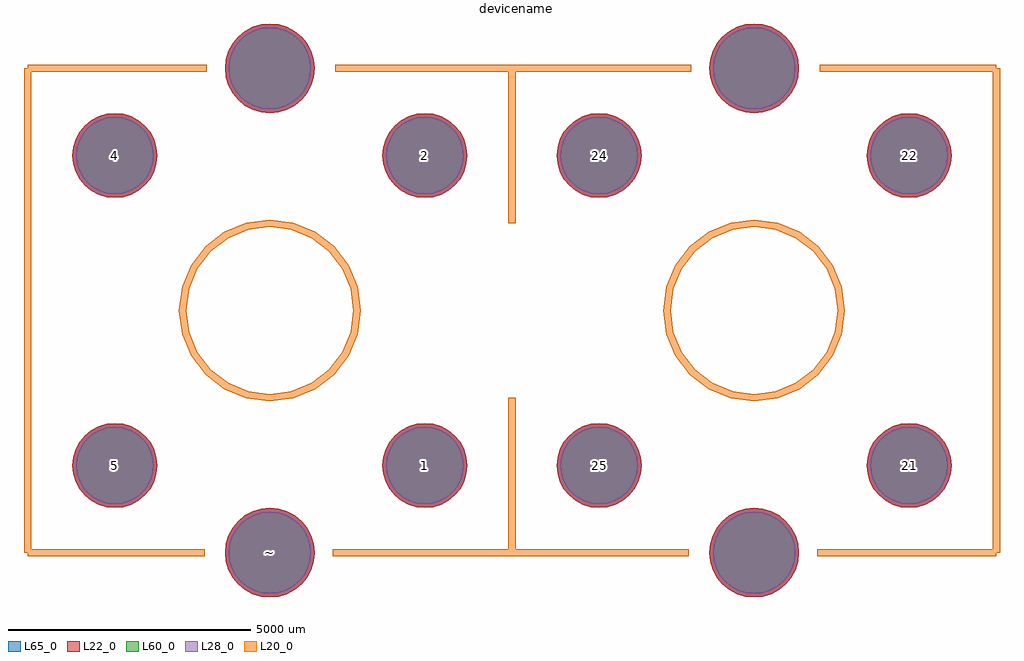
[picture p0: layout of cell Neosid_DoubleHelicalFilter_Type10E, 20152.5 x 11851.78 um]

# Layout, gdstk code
import gdstk
lib = gdstk.Library(unit=1e-6, precision=1e-09)
def P(c, l, *ps):  # polygons
    for p in ps: c.add(gdstk.Polygon(p, *l))
L20_0 = (20, 0)
L22_0 = (22, 0)
L28_0 = (28, 0)
L60_0 = (60, 0)
L65_0 = (65, 0)

neosid_doublehelicalfilt = lib.new_cell('Neosid_DoubleHelicalFilter_Type10E')
P(neosid_doublehelicalfilt, L22_0, [(5923.35,-5001.26),(5905.583,-4820.874),(5852.967,-4647.419),(5767.522,-4487.563),(5652.532,-4347.448),(5512.417,-4232.458),(5352.561,-4147.013),(5179.106,-4094.397),(4998.72,-4076.63),(4818.334,-4094.397),(4644.879,-4147.013),(4485.023,-4232.458),(4344.908,-4347.448),(4229.918,-4487.563),(4144.473,-4647.419),(4091.857,-4820.874),(4074.09,-5001.26),(4091.857,-5181.646),(4144.473,-5355.101),(4229.918,-5514.957),(4344.908,-5655.072),(4485.023,-5770.062),(4644.879,-5855.507),(4818.334,-5908.123),(4998.72,-5925.89),(5179.106,-5908.123),(5352.561,-5855.507),(5512.417,-5770.062),(5652.532,-5655.072),(5767.522,-5514.957),(5852.967,-5355.101),(5905.583,-5181.646)],
  [(5923.35,5001.26),(5905.583,5181.646),(5852.967,5355.101),(5767.522,5514.957),(5652.532,5655.072),(5512.417,5770.062),(5352.561,5855.507),(5179.106,5908.123),(4998.72,5925.89),(4818.334,5908.123),(4644.879,5855.507),(4485.023,5770.062),(4344.908,5655.072),(4229.918,5514.957),(4144.473,5355.101),(4091.857,5181.646),(4074.09,5001.26),(4091.857,4820.874),(4144.473,4647.419),(4229.918,4487.563),(4344.908,4347.448),(4485.023,4232.458),(4644.879,4147.013),(4818.334,4094.397),(4998.72,4076.63),(5179.106,4094.397),(5352.561,4147.013),(5512.417,4232.458),(5652.532,4347.448),(5767.522,4487.563),(5852.967,4647.419),(5905.583,4820.874)],
  [(-4076.63,5001.26),(-4094.397,5181.646),(-4147.013,5355.101),(-4232.458,5514.957),(-4347.448,5655.072),(-4487.563,5770.062),(-4647.419,5855.507),(-4820.874,5908.123),(-5001.26,5925.89),(-5181.646,5908.123),(-5355.101,5855.507),(-5514.957,5770.062),(-5655.072,5655.072),(-5770.062,5514.957),(-5855.507,5355.101),(-5908.123,5181.646),(-5925.89,5001.26),(-5908.123,4820.874),(-5855.507,4647.419),(-5770.062,4487.563),(-5655.072,4347.448),(-5514.957,4232.458),(-5355.101,4147.013),(-5181.646,4094.397),(-5001.26,4076.63),(-4820.874,4094.397),(-4647.419,4147.013),(-4487.563,4232.458),(-4347.448,4347.448),(-4232.458,4487.563),(-4147.013,4647.419),(-4094.397,4820.874)],
  [(-925.76,-3200.4),(-942.575,-3029.676),(-992.373,-2865.514),(-1073.241,-2714.22),(-1182.071,-2581.611),(-1314.68,-2472.781),(-1465.974,-2391.913),(-1630.136,-2342.115),(-1800.86,-2325.3),(-1971.584,-2342.115),(-2135.746,-2391.913),(-2287.04,-2472.781),(-2419.649,-2581.611),(-2528.479,-2714.22),(-2609.347,-2865.514),(-2659.145,-3029.676),(-2675.96,-3200.4),(-2659.145,-3371.124),(-2609.347,-3535.286),(-2528.479,-3686.58),(-2419.649,-3819.189),(-2287.04,-3928.019),(-2135.746,-4008.887),(-1971.584,-4058.685),(-1800.86,-4075.5),(-1630.136,-4058.685),(-1465.974,-4008.887),(-1314.68,-3928.019),(-1182.071,-3819.189),(-1073.241,-3686.58),(-992.373,-3535.286),(-942.575,-3371.124)],
  [(-7326.56,-3200.4),(-7343.375,-3029.676),(-7393.173,-2865.514),(-7474.041,-2714.22),(-7582.871,-2581.611),(-7715.48,-2472.781),(-7866.774,-2391.913),(-8030.936,-2342.115),(-8201.66,-2325.3),(-8372.384,-2342.115),(-8536.546,-2391.913),(-8687.84,-2472.781),(-8820.449,-2581.611),(-8929.279,-2714.22),(-9010.147,-2865.514),(-9059.945,-3029.676),(-9076.76,-3200.4),(-9059.945,-3371.124),(-9010.147,-3535.286),(-8929.279,-3686.58),(-8820.449,-3819.189),(-8687.84,-3928.019),(-8536.546,-4008.887),(-8372.384,-4058.685),(-8201.66,-4075.5),(-8030.936,-4058.685),(-7866.774,-4008.887),(-7715.48,-3928.019),(-7582.871,-3819.189),(-7474.041,-3686.58),(-7393.173,-3535.286),(-7343.375,-3371.124)],
  [(-7326.56,3200.4),(-7343.375,3371.124),(-7393.173,3535.286),(-7474.041,3686.58),(-7582.871,3819.189),(-7715.48,3928.019),(-7866.774,4008.887),(-8030.936,4058.685),(-8201.66,4075.5),(-8372.384,4058.685),(-8536.546,4008.887),(-8687.84,3928.019),(-8820.449,3819.189),(-8929.279,3686.58),(-9010.147,3535.286),(-9059.945,3371.124),(-9076.76,3200.4),(-9059.945,3029.676),(-9010.147,2865.514),(-8929.279,2714.22),(-8820.449,2581.611),(-8687.84,2472.781),(-8536.546,2391.913),(-8372.384,2342.115),(-8201.66,2325.3),(-8030.936,2342.115),(-7866.774,2391.913),(-7715.48,2472.781),(-7582.871,2581.611),(-7474.041,2714.22),(-7393.173,2865.514),(-7343.375,3029.676)],
  [(-925.76,3200.4),(-942.575,3371.124),(-992.373,3535.286),(-1073.241,3686.58),(-1182.071,3819.189),(-1314.68,3928.019),(-1465.974,4008.887),(-1630.136,4058.685),(-1800.86,4075.5),(-1971.584,4058.685),(-2135.746,4008.887),(-2287.04,3928.019),(-2419.649,3819.189),(-2528.479,3686.58),(-2609.347,3535.286),(-2659.145,3371.124),(-2675.96,3200.4),(-2659.145,3029.676),(-2609.347,2865.514),(-2528.479,2714.22),(-2419.649,2581.611),(-2287.04,2472.781),(-2135.746,2391.913),(-1971.584,2342.115),(-1800.86,2325.3),(-1630.136,2342.115),(-1465.974,2391.913),(-1314.68,2472.781),(-1182.071,2581.611),(-1073.241,2714.22),(-992.373,2865.514),(-942.575,3029.676)],
  [(9074.22,3200.4),(9057.405,3371.124),(9007.607,3535.286),(8926.739,3686.58),(8817.909,3819.189),(8685.3,3928.019),(8534.006,4008.887),(8369.844,4058.685),(8199.12,4075.5),(8028.396,4058.685),(7864.234,4008.887),(7712.94,3928.019),(7580.331,3819.189),(7471.501,3686.58),(7390.633,3535.286),(7340.835,3371.124),(7324.02,3200.4),(7340.835,3029.676),(7390.633,2865.514),(7471.501,2714.22),(7580.331,2581.611),(7712.94,2472.781),(7864.234,2391.913),(8028.396,2342.115),(8199.12,2325.3),(8369.844,2342.115),(8534.006,2391.913),(8685.3,2472.781),(8817.909,2581.611),(8926.739,2714.22),(9007.607,2865.514),(9057.405,3029.676)],
  [(2673.42,3200.4),(2656.605,3371.124),(2606.807,3535.286),(2525.939,3686.58),(2417.109,3819.189),(2284.5,3928.019),(2133.206,4008.887),(1969.044,4058.685),(1798.32,4075.5),(1627.596,4058.685),(1463.434,4008.887),(1312.14,3928.019),(1179.531,3819.189),(1070.701,3686.58),(989.833,3535.286),(940.035,3371.124),(923.22,3200.4),(940.035,3029.676),(989.833,2865.514),(1070.701,2714.22),(1179.531,2581.611),(1312.14,2472.781),(1463.434,2391.913),(1627.596,2342.115),(1798.32,2325.3),(1969.044,2342.115),(2133.206,2391.913),(2284.5,2472.781),(2417.109,2581.611),(2525.939,2714.22),(2606.807,2865.514),(2656.605,3029.676)],
  [(2673.42,-3200.4),(2656.605,-3029.676),(2606.807,-2865.514),(2525.939,-2714.22),(2417.109,-2581.611),(2284.5,-2472.781),(2133.206,-2391.913),(1969.044,-2342.115),(1798.32,-2325.3),(1627.596,-2342.115),(1463.434,-2391.913),(1312.14,-2472.781),(1179.531,-2581.611),(1070.701,-2714.22),(989.833,-2865.514),(940.035,-3029.676),(923.22,-3200.4),(940.035,-3371.124),(989.833,-3535.286),(1070.701,-3686.58),(1179.531,-3819.189),(1312.14,-3928.019),(1463.434,-4008.887),(1627.596,-4058.685),(1798.32,-4075.5),(1969.044,-4058.685),(2133.206,-4008.887),(2284.5,-3928.019),(2417.109,-3819.189),(2525.939,-3686.58),(2606.807,-3535.286),(2656.605,-3371.124)],
  [(9074.22,-3200.4),(9057.405,-3029.676),(9007.607,-2865.514),(8926.739,-2714.22),(8817.909,-2581.611),(8685.3,-2472.781),(8534.006,-2391.913),(8369.844,-2342.115),(8199.12,-2325.3),(8028.396,-2342.115),(7864.234,-2391.913),(7712.94,-2472.781),(7580.331,-2581.611),(7471.501,-2714.22),(7390.633,-2865.514),(7340.835,-3029.676),(7324.02,-3200.4),(7340.835,-3371.124),(7390.633,-3535.286),(7471.501,-3686.58),(7580.331,-3819.189),(7712.94,-3928.019),(7864.234,-4008.887),(8028.396,-4058.685),(8199.12,-4075.5),(8369.844,-4058.685),(8534.006,-4008.887),(8685.3,-3928.019),(8817.909,-3819.189),(8926.739,-3686.58),(9007.607,-3535.286),(9057.405,-3371.124)],
  [(-4076.63,-5001.26),(-4094.397,-4820.874),(-4147.013,-4647.419),(-4232.458,-4487.563),(-4347.448,-4347.448),(-4487.563,-4232.458),(-4647.419,-4147.013),(-4820.874,-4094.397),(-5001.26,-4076.63),(-5181.646,-4094.397),(-5355.101,-4147.013),(-5514.957,-4232.458),(-5655.072,-4347.448),(-5770.062,-4487.563),(-5855.507,-4647.419),(-5908.123,-4820.874),(-5925.89,-5001.26),(-5908.123,-5181.646),(-5855.507,-5355.101),(-5770.062,-5514.957),(-5655.072,-5655.072),(-5514.957,-5770.062),(-5355.101,-5855.507),(-5181.646,-5908.123),(-5001.26,-5925.89),(-4820.874,-5908.123),(-4647.419,-5855.507),(-4487.563,-5770.062),(-4347.448,-5655.072),(-4232.458,-5514.957),(-4147.013,-5355.101),(-4094.397,-5181.646)])
P(neosid_doublehelicalfilt, L28_0, [(5848.35,-5001.26),(5832.025,-4835.505),(5783.676,-4676.121),(5705.162,-4529.231),(5599.499,-4400.481),(5470.749,-4294.818),(5323.859,-4216.304),(5164.475,-4167.955),(4998.72,-4151.63),(4832.965,-4167.955),(4673.581,-4216.304),(4526.691,-4294.818),(4397.941,-4400.481),(4292.278,-4529.231),(4213.764,-4676.121),(4165.415,-4835.505),(4149.09,-5001.26),(4165.415,-5167.015),(4213.764,-5326.399),(4292.278,-5473.289),(4397.941,-5602.039),(4526.691,-5707.702),(4673.581,-5786.216),(4832.965,-5834.565),(4998.72,-5850.89),(5164.475,-5834.565),(5323.859,-5786.216),(5470.749,-5707.702),(5599.499,-5602.039),(5705.162,-5473.289),(5783.676,-5326.399),(5832.025,-5167.015)],
  [(5848.35,5001.26),(5832.025,5167.015),(5783.676,5326.399),(5705.162,5473.289),(5599.499,5602.039),(5470.749,5707.702),(5323.859,5786.216),(5164.475,5834.565),(4998.72,5850.89),(4832.965,5834.565),(4673.581,5786.216),(4526.691,5707.702),(4397.941,5602.039),(4292.278,5473.289),(4213.764,5326.399),(4165.415,5167.015),(4149.09,5001.26),(4165.415,4835.505),(4213.764,4676.121),(4292.278,4529.231),(4397.941,4400.481),(4526.691,4294.818),(4673.581,4216.304),(4832.965,4167.955),(4998.72,4151.63),(5164.475,4167.955),(5323.859,4216.304),(5470.749,4294.818),(5599.499,4400.481),(5705.162,4529.231),(5783.676,4676.121),(5832.025,4835.505)],
  [(-4151.63,5001.26),(-4167.955,5167.015),(-4216.304,5326.399),(-4294.818,5473.289),(-4400.481,5602.039),(-4529.231,5707.702),(-4676.121,5786.216),(-4835.505,5834.565),(-5001.26,5850.89),(-5167.015,5834.565),(-5326.399,5786.216),(-5473.289,5707.702),(-5602.039,5602.039),(-5707.702,5473.289),(-5786.216,5326.399),(-5834.565,5167.015),(-5850.89,5001.26),(-5834.565,4835.505),(-5786.216,4676.121),(-5707.702,4529.231),(-5602.039,4400.481),(-5473.289,4294.818),(-5326.399,4216.304),(-5167.015,4167.955),(-5001.26,4151.63),(-4835.505,4167.955),(-4676.121,4216.304),(-4529.231,4294.818),(-4400.481,4400.481),(-4294.818,4529.231),(-4216.304,4676.121),(-4167.955,4835.505)],
  [(-1000.76,-3200.4),(-1016.134,-3044.308),(-1061.664,-2894.215),(-1135.601,-2755.888),(-1235.104,-2634.644),(-1356.348,-2535.141),(-1494.675,-2461.204),(-1644.768,-2415.674),(-1800.86,-2400.3),(-1956.952,-2415.674),(-2107.045,-2461.204),(-2245.372,-2535.141),(-2366.616,-2634.644),(-2466.119,-2755.888),(-2540.056,-2894.215),(-2585.586,-3044.308),(-2600.96,-3200.4),(-2585.586,-3356.492),(-2540.056,-3506.585),(-2466.119,-3644.912),(-2366.616,-3766.156),(-2245.372,-3865.659),(-2107.045,-3939.596),(-1956.952,-3985.126),(-1800.86,-4000.5),(-1644.768,-3985.126),(-1494.675,-3939.596),(-1356.348,-3865.659),(-1235.104,-3766.156),(-1135.601,-3644.912),(-1061.664,-3506.585),(-1016.134,-3356.492)],
  [(-7401.56,-3200.4),(-7416.934,-3044.308),(-7462.464,-2894.215),(-7536.401,-2755.888),(-7635.904,-2634.644),(-7757.148,-2535.141),(-7895.475,-2461.204),(-8045.568,-2415.674),(-8201.66,-2400.3),(-8357.752,-2415.674),(-8507.845,-2461.204),(-8646.172,-2535.141),(-8767.416,-2634.644),(-8866.919,-2755.888),(-8940.856,-2894.215),(-8986.386,-3044.308),(-9001.76,-3200.4),(-8986.386,-3356.492),(-8940.856,-3506.585),(-8866.919,-3644.912),(-8767.416,-3766.156),(-8646.172,-3865.659),(-8507.845,-3939.596),(-8357.752,-3985.126),(-8201.66,-4000.5),(-8045.568,-3985.126),(-7895.475,-3939.596),(-7757.148,-3865.659),(-7635.904,-3766.156),(-7536.401,-3644.912),(-7462.464,-3506.585),(-7416.934,-3356.492)],
  [(-7401.56,3200.4),(-7416.934,3356.492),(-7462.464,3506.585),(-7536.401,3644.912),(-7635.904,3766.156),(-7757.148,3865.659),(-7895.475,3939.596),(-8045.568,3985.126),(-8201.66,4000.5),(-8357.752,3985.126),(-8507.845,3939.596),(-8646.172,3865.659),(-8767.416,3766.156),(-8866.919,3644.912),(-8940.856,3506.585),(-8986.386,3356.492),(-9001.76,3200.4),(-8986.386,3044.308),(-8940.856,2894.215),(-8866.919,2755.888),(-8767.416,2634.644),(-8646.172,2535.141),(-8507.845,2461.204),(-8357.752,2415.674),(-8201.66,2400.3),(-8045.568,2415.674),(-7895.475,2461.204),(-7757.148,2535.141),(-7635.904,2634.644),(-7536.401,2755.888),(-7462.464,2894.215),(-7416.934,3044.308)],
  [(-1000.76,3200.4),(-1016.134,3356.492),(-1061.664,3506.585),(-1135.601,3644.912),(-1235.104,3766.156),(-1356.348,3865.659),(-1494.675,3939.596),(-1644.768,3985.126),(-1800.86,4000.5),(-1956.952,3985.126),(-2107.045,3939.596),(-2245.372,3865.659),(-2366.616,3766.156),(-2466.119,3644.912),(-2540.056,3506.585),(-2585.586,3356.492),(-2600.96,3200.4),(-2585.586,3044.308),(-2540.056,2894.215),(-2466.119,2755.888),(-2366.616,2634.644),(-2245.372,2535.141),(-2107.045,2461.204),(-1956.952,2415.674),(-1800.86,2400.3),(-1644.768,2415.674),(-1494.675,2461.204),(-1356.348,2535.141),(-1235.104,2634.644),(-1135.601,2755.888),(-1061.664,2894.215),(-1016.134,3044.308)],
  [(8999.22,3200.4),(8983.846,3356.492),(8938.316,3506.585),(8864.379,3644.912),(8764.876,3766.156),(8643.632,3865.659),(8505.305,3939.596),(8355.212,3985.126),(8199.12,4000.5),(8043.028,3985.126),(7892.935,3939.596),(7754.608,3865.659),(7633.364,3766.156),(7533.861,3644.912),(7459.924,3506.585),(7414.394,3356.492),(7399.02,3200.4),(7414.394,3044.308),(7459.924,2894.215),(7533.861,2755.888),(7633.364,2634.644),(7754.608,2535.141),(7892.935,2461.204),(8043.028,2415.674),(8199.12,2400.3),(8355.212,2415.674),(8505.305,2461.204),(8643.632,2535.141),(8764.876,2634.644),(8864.379,2755.888),(8938.316,2894.215),(8983.846,3044.308)],
  [(2598.42,3200.4),(2583.046,3356.492),(2537.516,3506.585),(2463.579,3644.912),(2364.076,3766.156),(2242.832,3865.659),(2104.505,3939.596),(1954.412,3985.126),(1798.32,4000.5),(1642.228,3985.126),(1492.135,3939.596),(1353.808,3865.659),(1232.564,3766.156),(1133.061,3644.912),(1059.124,3506.585),(1013.594,3356.492),(998.22,3200.4),(1013.594,3044.308),(1059.124,2894.215),(1133.061,2755.888),(1232.564,2634.644),(1353.808,2535.141),(1492.135,2461.204),(1642.228,2415.674),(1798.32,2400.3),(1954.412,2415.674),(2104.505,2461.204),(2242.832,2535.141),(2364.076,2634.644),(2463.579,2755.888),(2537.516,2894.215),(2583.046,3044.308)],
  [(2598.42,-3200.4),(2583.046,-3044.308),(2537.516,-2894.215),(2463.579,-2755.888),(2364.076,-2634.644),(2242.832,-2535.141),(2104.505,-2461.204),(1954.412,-2415.674),(1798.32,-2400.3),(1642.228,-2415.674),(1492.135,-2461.204),(1353.808,-2535.141),(1232.564,-2634.644),(1133.061,-2755.888),(1059.124,-2894.215),(1013.594,-3044.308),(998.22,-3200.4),(1013.594,-3356.492),(1059.124,-3506.585),(1133.061,-3644.912),(1232.564,-3766.156),(1353.808,-3865.659),(1492.135,-3939.596),(1642.228,-3985.126),(1798.32,-4000.5),(1954.412,-3985.126),(2104.505,-3939.596),(2242.832,-3865.659),(2364.076,-3766.156),(2463.579,-3644.912),(2537.516,-3506.585),(2583.046,-3356.492)],
  [(8999.22,-3200.4),(8983.846,-3044.308),(8938.316,-2894.215),(8864.379,-2755.888),(8764.876,-2634.644),(8643.632,-2535.141),(8505.305,-2461.204),(8355.212,-2415.674),(8199.12,-2400.3),(8043.028,-2415.674),(7892.935,-2461.204),(7754.608,-2535.141),(7633.364,-2634.644),(7533.861,-2755.888),(7459.924,-2894.215),(7414.394,-3044.308),(7399.02,-3200.4),(7414.394,-3356.492),(7459.924,-3506.585),(7533.861,-3644.912),(7633.364,-3766.156),(7754.608,-3865.659),(7892.935,-3939.596),(8043.028,-3985.126),(8199.12,-4000.5),(8355.212,-3985.126),(8505.305,-3939.596),(8643.632,-3865.659),(8764.876,-3766.156),(8864.379,-3644.912),(8938.316,-3506.585),(8983.846,-3356.492)],
  [(-4151.63,-5001.26),(-4167.955,-4835.505),(-4216.304,-4676.121),(-4294.818,-4529.231),(-4400.481,-4400.481),(-4529.231,-4294.818),(-4676.121,-4216.304),(-4835.505,-4167.955),(-5001.26,-4151.63),(-5167.015,-4167.955),(-5326.399,-4216.304),(-5473.289,-4294.818),(-5602.039,-4400.481),(-5707.702,-4529.231),(-5786.216,-4676.121),(-5834.565,-4835.505),(-5850.89,-5001.26),(-5834.565,-5167.015),(-5786.216,-5326.399),(-5707.702,-5473.289),(-5602.039,-5602.039),(-5473.289,-5707.702),(-5326.399,-5786.216),(-5167.015,-5834.565),(-5001.26,-5850.89),(-4835.505,-5834.565),(-4676.121,-5786.216),(-4529.231,-5707.702),(-4400.481,-5602.039),(-4294.818,-5473.289),(-4216.304,-5326.399),(-4167.955,-5167.015)])
P(neosid_doublehelicalfilt, L60_0, [(5848.35,-5001.26),(5832.025,-4835.505),(5783.676,-4676.121),(5705.162,-4529.231),(5599.499,-4400.481),(5470.749,-4294.818),(5323.859,-4216.304),(5164.475,-4167.955),(4998.72,-4151.63),(4832.965,-4167.955),(4673.581,-4216.304),(4526.691,-4294.818),(4397.941,-4400.481),(4292.278,-4529.231),(4213.764,-4676.121),(4165.415,-4835.505),(4149.09,-5001.26),(4165.415,-5167.015),(4213.764,-5326.399),(4292.278,-5473.289),(4397.941,-5602.039),(4526.691,-5707.702),(4673.581,-5786.216),(4832.965,-5834.565),(4998.72,-5850.89),(5164.475,-5834.565),(5323.859,-5786.216),(5470.749,-5707.702),(5599.499,-5602.039),(5705.162,-5473.289),(5783.676,-5326.399),(5832.025,-5167.015)],
  [(5848.35,5001.26),(5832.025,5167.015),(5783.676,5326.399),(5705.162,5473.289),(5599.499,5602.039),(5470.749,5707.702),(5323.859,5786.216),(5164.475,5834.565),(4998.72,5850.89),(4832.965,5834.565),(4673.581,5786.216),(4526.691,5707.702),(4397.941,5602.039),(4292.278,5473.289),(4213.764,5326.399),(4165.415,5167.015),(4149.09,5001.26),(4165.415,4835.505),(4213.764,4676.121),(4292.278,4529.231),(4397.941,4400.481),(4526.691,4294.818),(4673.581,4216.304),(4832.965,4167.955),(4998.72,4151.63),(5164.475,4167.955),(5323.859,4216.304),(5470.749,4294.818),(5599.499,4400.481),(5705.162,4529.231),(5783.676,4676.121),(5832.025,4835.505)],
  [(-4151.63,5001.26),(-4167.955,5167.015),(-4216.304,5326.399),(-4294.818,5473.289),(-4400.481,5602.039),(-4529.231,5707.702),(-4676.121,5786.216),(-4835.505,5834.565),(-5001.26,5850.89),(-5167.015,5834.565),(-5326.399,5786.216),(-5473.289,5707.702),(-5602.039,5602.039),(-5707.702,5473.289),(-5786.216,5326.399),(-5834.565,5167.015),(-5850.89,5001.26),(-5834.565,4835.505),(-5786.216,4676.121),(-5707.702,4529.231),(-5602.039,4400.481),(-5473.289,4294.818),(-5326.399,4216.304),(-5167.015,4167.955),(-5001.26,4151.63),(-4835.505,4167.955),(-4676.121,4216.304),(-4529.231,4294.818),(-4400.481,4400.481),(-4294.818,4529.231),(-4216.304,4676.121),(-4167.955,4835.505)],
  [(-1000.76,-3200.4),(-1016.134,-3044.308),(-1061.664,-2894.215),(-1135.601,-2755.888),(-1235.104,-2634.644),(-1356.348,-2535.141),(-1494.675,-2461.204),(-1644.768,-2415.674),(-1800.86,-2400.3),(-1956.952,-2415.674),(-2107.045,-2461.204),(-2245.372,-2535.141),(-2366.616,-2634.644),(-2466.119,-2755.888),(-2540.056,-2894.215),(-2585.586,-3044.308),(-2600.96,-3200.4),(-2585.586,-3356.492),(-2540.056,-3506.585),(-2466.119,-3644.912),(-2366.616,-3766.156),(-2245.372,-3865.659),(-2107.045,-3939.596),(-1956.952,-3985.126),(-1800.86,-4000.5),(-1644.768,-3985.126),(-1494.675,-3939.596),(-1356.348,-3865.659),(-1235.104,-3766.156),(-1135.601,-3644.912),(-1061.664,-3506.585),(-1016.134,-3356.492)],
  [(-7401.56,-3200.4),(-7416.934,-3044.308),(-7462.464,-2894.215),(-7536.401,-2755.888),(-7635.904,-2634.644),(-7757.148,-2535.141),(-7895.475,-2461.204),(-8045.568,-2415.674),(-8201.66,-2400.3),(-8357.752,-2415.674),(-8507.845,-2461.204),(-8646.172,-2535.141),(-8767.416,-2634.644),(-8866.919,-2755.888),(-8940.856,-2894.215),(-8986.386,-3044.308),(-9001.76,-3200.4),(-8986.386,-3356.492),(-8940.856,-3506.585),(-8866.919,-3644.912),(-8767.416,-3766.156),(-8646.172,-3865.659),(-8507.845,-3939.596),(-8357.752,-3985.126),(-8201.66,-4000.5),(-8045.568,-3985.126),(-7895.475,-3939.596),(-7757.148,-3865.659),(-7635.904,-3766.156),(-7536.401,-3644.912),(-7462.464,-3506.585),(-7416.934,-3356.492)],
  [(-7401.56,3200.4),(-7416.934,3356.492),(-7462.464,3506.585),(-7536.401,3644.912),(-7635.904,3766.156),(-7757.148,3865.659),(-7895.475,3939.596),(-8045.568,3985.126),(-8201.66,4000.5),(-8357.752,3985.126),(-8507.845,3939.596),(-8646.172,3865.659),(-8767.416,3766.156),(-8866.919,3644.912),(-8940.856,3506.585),(-8986.386,3356.492),(-9001.76,3200.4),(-8986.386,3044.308),(-8940.856,2894.215),(-8866.919,2755.888),(-8767.416,2634.644),(-8646.172,2535.141),(-8507.845,2461.204),(-8357.752,2415.674),(-8201.66,2400.3),(-8045.568,2415.674),(-7895.475,2461.204),(-7757.148,2535.141),(-7635.904,2634.644),(-7536.401,2755.888),(-7462.464,2894.215),(-7416.934,3044.308)],
  [(-1000.76,3200.4),(-1016.134,3356.492),(-1061.664,3506.585),(-1135.601,3644.912),(-1235.104,3766.156),(-1356.348,3865.659),(-1494.675,3939.596),(-1644.768,3985.126),(-1800.86,4000.5),(-1956.952,3985.126),(-2107.045,3939.596),(-2245.372,3865.659),(-2366.616,3766.156),(-2466.119,3644.912),(-2540.056,3506.585),(-2585.586,3356.492),(-2600.96,3200.4),(-2585.586,3044.308),(-2540.056,2894.215),(-2466.119,2755.888),(-2366.616,2634.644),(-2245.372,2535.141),(-2107.045,2461.204),(-1956.952,2415.674),(-1800.86,2400.3),(-1644.768,2415.674),(-1494.675,2461.204),(-1356.348,2535.141),(-1235.104,2634.644),(-1135.601,2755.888),(-1061.664,2894.215),(-1016.134,3044.308)],
  [(8999.22,3200.4),(8983.846,3356.492),(8938.316,3506.585),(8864.379,3644.912),(8764.876,3766.156),(8643.632,3865.659),(8505.305,3939.596),(8355.212,3985.126),(8199.12,4000.5),(8043.028,3985.126),(7892.935,3939.596),(7754.608,3865.659),(7633.364,3766.156),(7533.861,3644.912),(7459.924,3506.585),(7414.394,3356.492),(7399.02,3200.4),(7414.394,3044.308),(7459.924,2894.215),(7533.861,2755.888),(7633.364,2634.644),(7754.608,2535.141),(7892.935,2461.204),(8043.028,2415.674),(8199.12,2400.3),(8355.212,2415.674),(8505.305,2461.204),(8643.632,2535.141),(8764.876,2634.644),(8864.379,2755.888),(8938.316,2894.215),(8983.846,3044.308)],
  [(2598.42,3200.4),(2583.046,3356.492),(2537.516,3506.585),(2463.579,3644.912),(2364.076,3766.156),(2242.832,3865.659),(2104.505,3939.596),(1954.412,3985.126),(1798.32,4000.5),(1642.228,3985.126),(1492.135,3939.596),(1353.808,3865.659),(1232.564,3766.156),(1133.061,3644.912),(1059.124,3506.585),(1013.594,3356.492),(998.22,3200.4),(1013.594,3044.308),(1059.124,2894.215),(1133.061,2755.888),(1232.564,2634.644),(1353.808,2535.141),(1492.135,2461.204),(1642.228,2415.674),(1798.32,2400.3),(1954.412,2415.674),(2104.505,2461.204),(2242.832,2535.141),(2364.076,2634.644),(2463.579,2755.888),(2537.516,2894.215),(2583.046,3044.308)],
  [(2598.42,-3200.4),(2583.046,-3044.308),(2537.516,-2894.215),(2463.579,-2755.888),(2364.076,-2634.644),(2242.832,-2535.141),(2104.505,-2461.204),(1954.412,-2415.674),(1798.32,-2400.3),(1642.228,-2415.674),(1492.135,-2461.204),(1353.808,-2535.141),(1232.564,-2634.644),(1133.061,-2755.888),(1059.124,-2894.215),(1013.594,-3044.308),(998.22,-3200.4),(1013.594,-3356.492),(1059.124,-3506.585),(1133.061,-3644.912),(1232.564,-3766.156),(1353.808,-3865.659),(1492.135,-3939.596),(1642.228,-3985.126),(1798.32,-4000.5),(1954.412,-3985.126),(2104.505,-3939.596),(2242.832,-3865.659),(2364.076,-3766.156),(2463.579,-3644.912),(2537.516,-3506.585),(2583.046,-3356.492)],
  [(8999.22,-3200.4),(8983.846,-3044.308),(8938.316,-2894.215),(8864.379,-2755.888),(8764.876,-2634.644),(8643.632,-2535.141),(8505.305,-2461.204),(8355.212,-2415.674),(8199.12,-2400.3),(8043.028,-2415.674),(7892.935,-2461.204),(7754.608,-2535.141),(7633.364,-2634.644),(7533.861,-2755.888),(7459.924,-2894.215),(7414.394,-3044.308),(7399.02,-3200.4),(7414.394,-3356.492),(7459.924,-3506.585),(7533.861,-3644.912),(7633.364,-3766.156),(7754.608,-3865.659),(7892.935,-3939.596),(8043.028,-3985.126),(8199.12,-4000.5),(8355.212,-3985.126),(8505.305,-3939.596),(8643.632,-3865.659),(8764.876,-3766.156),(8864.379,-3644.912),(8938.316,-3506.585),(8983.846,-3356.492)],
  [(-4151.63,-5001.26),(-4167.955,-4835.505),(-4216.304,-4676.121),(-4294.818,-4529.231),(-4400.481,-4400.481),(-4529.231,-4294.818),(-4676.121,-4216.304),(-4835.505,-4167.955),(-5001.26,-4151.63),(-5167.015,-4167.955),(-5326.399,-4216.304),(-5473.289,-4294.818),(-5602.039,-4400.481),(-5707.702,-4529.231),(-5786.216,-4676.121),(-5834.565,-4835.505),(-5850.89,-5001.26),(-5834.565,-5167.015),(-5786.216,-5326.399),(-5707.702,-5473.289),(-5602.039,-5602.039),(-5473.289,-5707.702),(-5326.399,-5786.216),(-5167.015,-5834.565),(-5001.26,-5850.89),(-4835.505,-5834.565),(-4676.121,-5786.216),(-4529.231,-5707.702),(-4400.481,-5602.039),(-4294.818,-5473.289),(-4216.304,-5326.399),(-4167.955,-5167.015)])
P(neosid_doublehelicalfilt, L65_0, [(5923.35,-5001.26),(5905.583,-4820.874),(5852.967,-4647.419),(5767.522,-4487.563),(5652.532,-4347.448),(5512.417,-4232.458),(5352.561,-4147.013),(5179.106,-4094.397),(4998.72,-4076.63),(4818.334,-4094.397),(4644.879,-4147.013),(4485.023,-4232.458),(4344.908,-4347.448),(4229.918,-4487.563),(4144.473,-4647.419),(4091.857,-4820.874),(4074.09,-5001.26),(4091.857,-5181.646),(4144.473,-5355.101),(4229.918,-5514.957),(4344.908,-5655.072),(4485.023,-5770.062),(4644.879,-5855.507),(4818.334,-5908.123),(4998.72,-5925.89),(5179.106,-5908.123),(5352.561,-5855.507),(5512.417,-5770.062),(5652.532,-5655.072),(5767.522,-5514.957),(5852.967,-5355.101),(5905.583,-5181.646)],
  [(5923.35,5001.26),(5905.583,5181.646),(5852.967,5355.101),(5767.522,5514.957),(5652.532,5655.072),(5512.417,5770.062),(5352.561,5855.507),(5179.106,5908.123),(4998.72,5925.89),(4818.334,5908.123),(4644.879,5855.507),(4485.023,5770.062),(4344.908,5655.072),(4229.918,5514.957),(4144.473,5355.101),(4091.857,5181.646),(4074.09,5001.26),(4091.857,4820.874),(4144.473,4647.419),(4229.918,4487.563),(4344.908,4347.448),(4485.023,4232.458),(4644.879,4147.013),(4818.334,4094.397),(4998.72,4076.63),(5179.106,4094.397),(5352.561,4147.013),(5512.417,4232.458),(5652.532,4347.448),(5767.522,4487.563),(5852.967,4647.419),(5905.583,4820.874)],
  [(-4076.63,5001.26),(-4094.397,5181.646),(-4147.013,5355.101),(-4232.458,5514.957),(-4347.448,5655.072),(-4487.563,5770.062),(-4647.419,5855.507),(-4820.874,5908.123),(-5001.26,5925.89),(-5181.646,5908.123),(-5355.101,5855.507),(-5514.957,5770.062),(-5655.072,5655.072),(-5770.062,5514.957),(-5855.507,5355.101),(-5908.123,5181.646),(-5925.89,5001.26),(-5908.123,4820.874),(-5855.507,4647.419),(-5770.062,4487.563),(-5655.072,4347.448),(-5514.957,4232.458),(-5355.101,4147.013),(-5181.646,4094.397),(-5001.26,4076.63),(-4820.874,4094.397),(-4647.419,4147.013),(-4487.563,4232.458),(-4347.448,4347.448),(-4232.458,4487.563),(-4147.013,4647.419),(-4094.397,4820.874)],
  [(-925.76,-3200.4),(-942.575,-3029.676),(-992.373,-2865.514),(-1073.241,-2714.22),(-1182.071,-2581.611),(-1314.68,-2472.781),(-1465.974,-2391.913),(-1630.136,-2342.115),(-1800.86,-2325.3),(-1971.584,-2342.115),(-2135.746,-2391.913),(-2287.04,-2472.781),(-2419.649,-2581.611),(-2528.479,-2714.22),(-2609.347,-2865.514),(-2659.145,-3029.676),(-2675.96,-3200.4),(-2659.145,-3371.124),(-2609.347,-3535.286),(-2528.479,-3686.58),(-2419.649,-3819.189),(-2287.04,-3928.019),(-2135.746,-4008.887),(-1971.584,-4058.685),(-1800.86,-4075.5),(-1630.136,-4058.685),(-1465.974,-4008.887),(-1314.68,-3928.019),(-1182.071,-3819.189),(-1073.241,-3686.58),(-992.373,-3535.286),(-942.575,-3371.124)],
  [(-7326.56,-3200.4),(-7343.375,-3029.676),(-7393.173,-2865.514),(-7474.041,-2714.22),(-7582.871,-2581.611),(-7715.48,-2472.781),(-7866.774,-2391.913),(-8030.936,-2342.115),(-8201.66,-2325.3),(-8372.384,-2342.115),(-8536.546,-2391.913),(-8687.84,-2472.781),(-8820.449,-2581.611),(-8929.279,-2714.22),(-9010.147,-2865.514),(-9059.945,-3029.676),(-9076.76,-3200.4),(-9059.945,-3371.124),(-9010.147,-3535.286),(-8929.279,-3686.58),(-8820.449,-3819.189),(-8687.84,-3928.019),(-8536.546,-4008.887),(-8372.384,-4058.685),(-8201.66,-4075.5),(-8030.936,-4058.685),(-7866.774,-4008.887),(-7715.48,-3928.019),(-7582.871,-3819.189),(-7474.041,-3686.58),(-7393.173,-3535.286),(-7343.375,-3371.124)],
  [(-7326.56,3200.4),(-7343.375,3371.124),(-7393.173,3535.286),(-7474.041,3686.58),(-7582.871,3819.189),(-7715.48,3928.019),(-7866.774,4008.887),(-8030.936,4058.685),(-8201.66,4075.5),(-8372.384,4058.685),(-8536.546,4008.887),(-8687.84,3928.019),(-8820.449,3819.189),(-8929.279,3686.58),(-9010.147,3535.286),(-9059.945,3371.124),(-9076.76,3200.4),(-9059.945,3029.676),(-9010.147,2865.514),(-8929.279,2714.22),(-8820.449,2581.611),(-8687.84,2472.781),(-8536.546,2391.913),(-8372.384,2342.115),(-8201.66,2325.3),(-8030.936,2342.115),(-7866.774,2391.913),(-7715.48,2472.781),(-7582.871,2581.611),(-7474.041,2714.22),(-7393.173,2865.514),(-7343.375,3029.676)],
  [(-925.76,3200.4),(-942.575,3371.124),(-992.373,3535.286),(-1073.241,3686.58),(-1182.071,3819.189),(-1314.68,3928.019),(-1465.974,4008.887),(-1630.136,4058.685),(-1800.86,4075.5),(-1971.584,4058.685),(-2135.746,4008.887),(-2287.04,3928.019),(-2419.649,3819.189),(-2528.479,3686.58),(-2609.347,3535.286),(-2659.145,3371.124),(-2675.96,3200.4),(-2659.145,3029.676),(-2609.347,2865.514),(-2528.479,2714.22),(-2419.649,2581.611),(-2287.04,2472.781),(-2135.746,2391.913),(-1971.584,2342.115),(-1800.86,2325.3),(-1630.136,2342.115),(-1465.974,2391.913),(-1314.68,2472.781),(-1182.071,2581.611),(-1073.241,2714.22),(-992.373,2865.514),(-942.575,3029.676)],
  [(9074.22,3200.4),(9057.405,3371.124),(9007.607,3535.286),(8926.739,3686.58),(8817.909,3819.189),(8685.3,3928.019),(8534.006,4008.887),(8369.844,4058.685),(8199.12,4075.5),(8028.396,4058.685),(7864.234,4008.887),(7712.94,3928.019),(7580.331,3819.189),(7471.501,3686.58),(7390.633,3535.286),(7340.835,3371.124),(7324.02,3200.4),(7340.835,3029.676),(7390.633,2865.514),(7471.501,2714.22),(7580.331,2581.611),(7712.94,2472.781),(7864.234,2391.913),(8028.396,2342.115),(8199.12,2325.3),(8369.844,2342.115),(8534.006,2391.913),(8685.3,2472.781),(8817.909,2581.611),(8926.739,2714.22),(9007.607,2865.514),(9057.405,3029.676)],
  [(2673.42,3200.4),(2656.605,3371.124),(2606.807,3535.286),(2525.939,3686.58),(2417.109,3819.189),(2284.5,3928.019),(2133.206,4008.887),(1969.044,4058.685),(1798.32,4075.5),(1627.596,4058.685),(1463.434,4008.887),(1312.14,3928.019),(1179.531,3819.189),(1070.701,3686.58),(989.833,3535.286),(940.035,3371.124),(923.22,3200.4),(940.035,3029.676),(989.833,2865.514),(1070.701,2714.22),(1179.531,2581.611),(1312.14,2472.781),(1463.434,2391.913),(1627.596,2342.115),(1798.32,2325.3),(1969.044,2342.115),(2133.206,2391.913),(2284.5,2472.781),(2417.109,2581.611),(2525.939,2714.22),(2606.807,2865.514),(2656.605,3029.676)],
  [(2673.42,-3200.4),(2656.605,-3029.676),(2606.807,-2865.514),(2525.939,-2714.22),(2417.109,-2581.611),(2284.5,-2472.781),(2133.206,-2391.913),(1969.044,-2342.115),(1798.32,-2325.3),(1627.596,-2342.115),(1463.434,-2391.913),(1312.14,-2472.781),(1179.531,-2581.611),(1070.701,-2714.22),(989.833,-2865.514),(940.035,-3029.676),(923.22,-3200.4),(940.035,-3371.124),(989.833,-3535.286),(1070.701,-3686.58),(1179.531,-3819.189),(1312.14,-3928.019),(1463.434,-4008.887),(1627.596,-4058.685),(1798.32,-4075.5),(1969.044,-4058.685),(2133.206,-4008.887),(2284.5,-3928.019),(2417.109,-3819.189),(2525.939,-3686.58),(2606.807,-3535.286),(2656.605,-3371.124)],
  [(9074.22,-3200.4),(9057.405,-3029.676),(9007.607,-2865.514),(8926.739,-2714.22),(8817.909,-2581.611),(8685.3,-2472.781),(8534.006,-2391.913),(8369.844,-2342.115),(8199.12,-2325.3),(8028.396,-2342.115),(7864.234,-2391.913),(7712.94,-2472.781),(7580.331,-2581.611),(7471.501,-2714.22),(7390.633,-2865.514),(7340.835,-3029.676),(7324.02,-3200.4),(7340.835,-3371.124),(7390.633,-3535.286),(7471.501,-3686.58),(7580.331,-3819.189),(7712.94,-3928.019),(7864.234,-4008.887),(8028.396,-4058.685),(8199.12,-4075.5),(8369.844,-4058.685),(8534.006,-4008.887),(8685.3,-3928.019),(8817.909,-3819.189),(8926.739,-3686.58),(9007.607,-3535.286),(9057.405,-3371.124)],
  [(-4076.63,-5001.26),(-4094.397,-4820.874),(-4147.013,-4647.419),(-4232.458,-4487.563),(-4347.448,-4347.448),(-4487.563,-4232.458),(-4647.419,-4147.013),(-4820.874,-4094.397),(-5001.26,-4076.63),(-5181.646,-4094.397),(-5355.101,-4147.013),(-5514.957,-4232.458),(-5655.072,-4347.448),(-5770.062,-4487.563),(-5855.507,-4647.419),(-5908.123,-4820.874),(-5925.89,-5001.26),(-5908.123,-5181.646),(-5855.507,-5355.101),(-5770.062,-5514.957),(-5655.072,-5655.072),(-5514.957,-5770.062),(-5355.101,-5855.507),(-5181.646,-5908.123),(-5001.26,-5925.89),(-4820.874,-5908.123),(-4647.419,-5855.507),(-4487.563,-5770.062),(-4347.448,-5655.072),(-4232.458,-5514.957),(-4147.013,-5355.101),(-4094.397,-5181.646)])
neosid_doublehelicalfilt.add(gdstk.FlexPath([(-3200.4,0),(-3261.763,466.097),(-3441.669,900.43),(-3727.86,1273.4),(-4100.83,1559.591),(-4535.163,1739.497),(-5001.26,1800.86),(-5467.357,1739.497),(-5901.69,1559.591),(-6274.66,1273.4),(-6560.851,900.43),(-6740.757,466.097),(-6802.12,0),(-6740.757,-466.097),(-6560.851,-900.43),(-6274.66,-1273.4),(-5901.69,-1559.591),(-5467.357,-1739.497),(-5001.26,-1800.86),(-4535.163,-1739.497),(-4100.83,-1559.591),(-3727.86,-1273.4),(-3441.669,-900.43),(-3261.763,-466.097),(-3200.4,0)], 149.998, ends="flush", simple_path=True, layer=20, datatype=0))  # L20_0
neosid_doublehelicalfilt.add(gdstk.FlexPath([(-10002.52,5001.26),(-10002.52,1800.86)], 149.998, ends="flush", simple_path=True, layer=20, datatype=0))  # L20_0
neosid_doublehelicalfilt.add(gdstk.FlexPath([(-10002.52,-1800.86),(-10002.52,-5001.26)], 149.998, ends="flush", simple_path=True, layer=20, datatype=0))  # L20_0
neosid_doublehelicalfilt.add(gdstk.FlexPath([(0,-5001.26),(0,-1800.86)], 149.998, ends="flush", simple_path=True, layer=20, datatype=0))  # L20_0
neosid_doublehelicalfilt.add(gdstk.FlexPath([(0,1800.86),(0,5001.26)], 149.998, ends="flush", simple_path=True, layer=20, datatype=0))  # L20_0
neosid_doublehelicalfilt.add(gdstk.FlexPath([(9999.98,1800.86),(9999.98,5001.26)], 149.998, ends="flush", simple_path=True, layer=20, datatype=0))  # L20_0
neosid_doublehelicalfilt.add(gdstk.FlexPath([(9999.98,-5001.26),(9999.98,-1800.86)], 149.998, ends="flush", simple_path=True, layer=20, datatype=0))  # L20_0
neosid_doublehelicalfilt.add(gdstk.FlexPath([(-2.54,-1800.86),(-2.54,-5001.26)], 149.998, ends="flush", simple_path=True, layer=20, datatype=0))  # L20_0
neosid_doublehelicalfilt.add(gdstk.FlexPath([(-2.54,5001.26),(-2.54,1800.86)], 149.998, ends="flush", simple_path=True, layer=20, datatype=0))  # L20_0
neosid_doublehelicalfilt.add(gdstk.FlexPath([(6799.58,0),(6738.217,466.097),(6558.311,900.43),(6272.12,1273.4),(5899.15,1559.591),(5464.817,1739.497),(4998.72,1800.86),(4532.623,1739.497),(4098.29,1559.591),(3725.32,1273.4),(3439.129,900.43),(3259.223,466.097),(3197.86,0),(3259.223,-466.097),(3439.129,-900.43),(3725.32,-1273.4),(4098.29,-1559.591),(4532.623,-1739.497),(4998.72,-1800.86),(5464.817,-1739.497),(5899.15,-1559.591),(6272.12,-1273.4),(6558.311,-900.43),(6738.217,-466.097),(6799.58,0)], 149.998, ends="flush", simple_path=True, layer=20, datatype=0))  # L20_0
neosid_doublehelicalfilt.add(gdstk.FlexPath([(6350,5001.26),(6400.8,5001.26)], 149.998, ends="flush", simple_path=True, layer=20, datatype=0))  # L20_0
neosid_doublehelicalfilt.add(gdstk.FlexPath([(9999.98,5001.26),(6350,5001.26)], 149.998, ends="flush", simple_path=True, layer=20, datatype=0))  # L20_0
neosid_doublehelicalfilt.add(gdstk.FlexPath([(3700.78,5001.26),(-3649.98,5001.26)], 149.998, ends="flush", simple_path=True, layer=20, datatype=0))  # L20_0
neosid_doublehelicalfilt.add(gdstk.FlexPath([(-6299.2,5001.26),(-9999.98,5001.26)], 149.998, ends="flush", simple_path=True, layer=20, datatype=0))  # L20_0
neosid_doublehelicalfilt.add(gdstk.FlexPath([(-9999.98,1800.86),(-9999.98,-1800.86)], 149.998, ends="flush", simple_path=True, layer=20, datatype=0))  # L20_0
neosid_doublehelicalfilt.add(gdstk.FlexPath([(-9999.98,-5001.26),(-6350,-5001.26)], 149.998, ends="flush", simple_path=True, layer=20, datatype=0))  # L20_0
neosid_doublehelicalfilt.add(gdstk.FlexPath([(-3700.78,-5001.26),(3649.98,-5001.26)], 149.998, ends="flush", simple_path=True, layer=20, datatype=0))  # L20_0
neosid_doublehelicalfilt.add(gdstk.FlexPath([(6299.2,-5001.26),(9999.98,-5001.26)], 149.998, ends="flush", simple_path=True, layer=20, datatype=0))  # L20_0
neosid_doublehelicalfilt.add(gdstk.FlexPath([(9999.98,1800.86),(9999.98,-1849.12)], 149.998, ends="flush", simple_path=True, layer=20, datatype=0))  # L20_0
neosid_doublehelicalfilt.add(gdstk.Label('1', (-1800.86,-3200.4), layer=28, texttype=0))
neosid_doublehelicalfilt.add(gdstk.Label('5', (-8201.66,-3200.4), layer=28, texttype=0))
neosid_doublehelicalfilt.add(gdstk.Label('4', (-8201.66,3200.4), layer=28, texttype=0))
neosid_doublehelicalfilt.add(gdstk.Label('2', (-1800.86,3200.4), layer=28, texttype=0))
neosid_doublehelicalfilt.add(gdstk.Label('22', (8199.12,3200.4), layer=28, texttype=0))
neosid_doublehelicalfilt.add(gdstk.Label('24', (1798.32,3200.4), layer=28, texttype=0))
neosid_doublehelicalfilt.add(gdstk.Label('25', (1798.32,-3200.4), layer=28, texttype=0))
neosid_doublehelicalfilt.add(gdstk.Label('21', (8199.12,-3200.4), layer=28, texttype=0))
neosid_doublehelicalfilt.add(gdstk.Label('~', (-5001.26,-5001.26), layer=28, texttype=0))
neosid_doublehelicalfilt.add(gdstk.Label('type', (149.86,-7150.1), layer=9, texttype=0))
neosid_doublehelicalfilt.add(gdstk.Label('devicename', (99.06,6250.94), layer=9, texttype=0))

lib.write_gds('Neosid_DoubleHelicalFilter_Type10E.gds')
